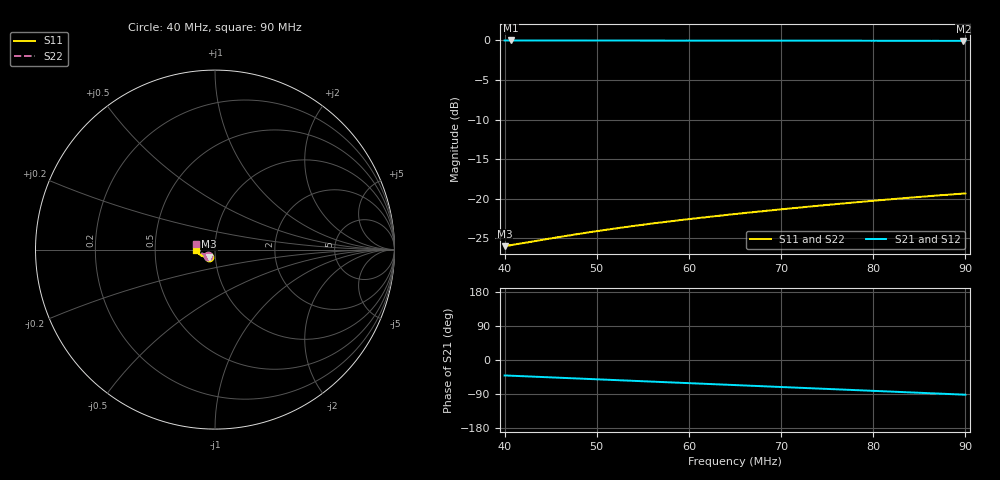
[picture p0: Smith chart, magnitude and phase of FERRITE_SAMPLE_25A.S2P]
!Agilent Technologies,E5061B,MY49102235,A.02.00
!Date: Mon Jul 03 10:30:41 2023
!Data & Calibration Information:
!Freq	S11:SOLT2(ON)	S21:SOLT2(ON)	S12:SOLT2(ON)	S22:SOLT2(ON)
# Hz S RI R 50
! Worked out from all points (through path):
!   1600 points, 40 MHz to 90 MHz, reference 50 ohm
!   highest |S21| = -0.01 dB at 40.69 MHz (marker M1); lowest = -0.1 dB at 89.78 MHz (marker M2)
!   group delay of S21, straight-line fit = 2.83 ns
!   lowest |S11| = -26.0 dB at 40 MHz (marker M3), VSWR 1.11, Z = 46.8 - j3.62 ohm
!   |S11| at or under -10 dB: start of sweep to end of sweep
!   |S22| runs from -26.1 to -19.3 dB; largest |S21 - S12| = 0.0015
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4e7  -0.032 -0.0386  0.7566 -0.6519  0.7568 -0.6511  -0.0369 -0.0331
4.068793e7  -0.033 -0.0388  0.7489 -0.6611  0.7488 -0.6604  -0.0379 -0.0331
4.281426e7  -0.036 -0.0394  0.7229 -0.6888  0.7233 -0.6882  -0.0416 -0.0332
4.453408e7  -0.0388 -0.0398  0.7012 -0.7106  0.7016 -0.7099  -0.0445 -0.0329
4.834897e7  -0.0446 -0.0406  0.6515 -0.7558  0.6516 -0.7557  -0.0511 -0.0315
5.241401e7  -0.0511 -0.0408  0.5948 -0.8006  0.5949 -0.8003  -0.0579 -0.029
5.482176e7  -0.0549 -0.0405  0.5599 -0.8251  0.5601 -0.8249  -0.062 -0.0272
5.666667e7  -0.058 -0.0401  0.5325 -0.8427  0.5324 -0.8423  -0.065 -0.0255
6.073171e7  -0.0647 -0.0383  0.4705 -0.8786  0.4705 -0.8779  -0.0712 -0.0213
6.307692e7  -0.0688 -0.0368  0.4336 -0.8973  0.4336 -0.8966  -0.0746 -0.0188
6.501563e7  -0.0719 -0.0353  0.4023 -0.9117  0.4025 -0.9109  -0.0774 -0.0164
6.904941e7  -0.0785 -0.0314  0.336 -0.938  0.3365 -0.9372  -0.0831 -0.011
7.114447e7  -0.082 -0.0291  0.3006 -0.9497  0.3011 -0.9491  -0.086 -0.00788
7.33646e7  -0.0856 -0.0265  0.2626 -0.9609  0.2635 -0.9601  -0.0889 -0.00425
7.545966e7  -0.0888 -0.0239  0.2263 -0.9696  0.2275 -0.9692  -0.0914 -0.000654
7.755472e7  -0.092 -0.0208  0.1901 -0.9769  0.1909 -0.9767  -0.0939 0.00328
7.936836e7  -0.0946 -0.0183  0.1584 -0.982  0.1589 -0.9818  -0.0959 0.00687
8.16823e7  -0.0979 -0.015  0.1181 -0.9873  0.1186 -0.9871  -0.0982 0.0116
8.358974e7  -0.1003 -0.012  0.0846 -0.9904  0.0848 -0.9899  -0.0999 0.0158
8.596623e7  -0.1033 -0.00814  0.0429 -0.9924  0.0433 -0.9922  -0.1014 0.0212
8.978111e7  -0.1079 -0.00151  -0.0238 -0.9924  -0.0237 -0.9922  -0.1035 0.0301
9e7  -0.1081 -0.00104  -0.0275 -0.9924  -0.0276 -0.992  -0.1036 0.0307
